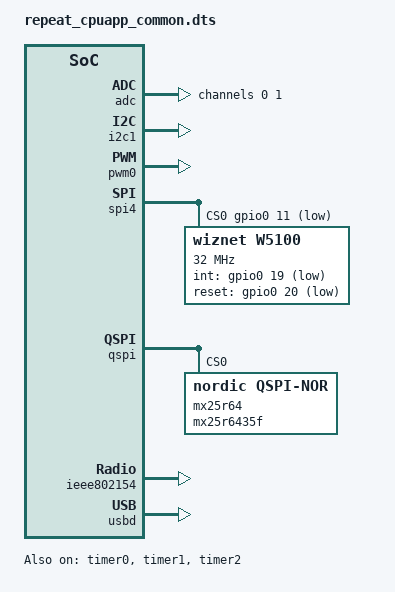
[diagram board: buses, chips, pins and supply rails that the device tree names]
/*
 * Copyright (c) 2019-2020 Nordic Semiconductor ASA
 *
 * SPDX-License-Identifier: Apache-2.0
 */
#include "repeat_cpuapp_common-pinctrl.dtsi"

/ {

	chosen {
		/*zephyr,console = &cdc_acm_uart;
		zephyr,shell-uart = &cdc_acm_uart;
		zephyr,uart-mcumgr = &cdc_acm_uart;
		zephyr,bt-mon-uart = &cdc_acm_uart;
		zephyr,bt-c2h-uart = &cdc_acm_uart;*/
		zephyr,bt-hci-rpmsg-ipc = &ipc0;
		nordic,802154-spinel-ipc = &ipc0;
		zephyr,ieee802154 = &ieee802154;
	};

	/* These aliases are provided for compatibility with samples */
	aliases {
		watchdog0 = &wdt0;
		spi-flash0 = &mx25r64;
	};
};


&adc {
	compatible = "nordic,nrf-saadc";
	status = "okay";
	#address-cells = <1>;
   	#size-cells = <0>;
	#io-channel-cells = <1>;

	voltage_usb: channel@0 {
		reg = <0>;
		zephyr,gain = "ADC_GAIN_1_6";
		zephyr,reference = "ADC_REF_INTERNAL";
		zephyr,acquisition-time = <ADC_ACQ_TIME_DEFAULT>;
		zephyr,input-positive = <NRF_SAADC_AIN0>;
		zephyr,resolution = <12>;
	};
	
	voltage_poe: channel@1 {
		reg = <1>;
		zephyr,gain = "ADC_GAIN_1_6";
		zephyr,reference = "ADC_REF_INTERNAL";
		zephyr,acquisition-time = <ADC_ACQ_TIME_DEFAULT>;
		zephyr,input-positive = <NRF_SAADC_AIN1>;
		zephyr,resolution = <12>;
	};
};

&gpiote {
	status = "okay";
};

&gpio0 {
	status = "okay";
};

&gpio1 {
	status = "okay";
};


&i2c1 {
	compatible = "nordic,nrf-twim";
	status = "okay";
};


&pwm0 {
	status = "okay";
};

&timer0 {
	status = "okay";
};

&timer1 {
	status = "okay";
};

&timer2 {
	status = "okay";
};

&spi4 {
    compatible = "nordic,nrf-spim";
    status = "okay";
	pinctrl-0 = <&spi4_default>;
	pinctrl-1 = <&spi4_sleep>;
	pinctrl-names = "default", "sleep";
	
    cs-gpios = <&gpio0 11 GPIO_ACTIVE_LOW>;
    w5100: w5100@0 {
        compatible = "wiznet,w5100";
        reg = <0x0>;
        spi-max-frequency = <32000000>;
        int-gpios = <&gpio0 19 GPIO_ACTIVE_LOW>;
        reset-gpios = <&gpio0 20 GPIO_ACTIVE_LOW>;
    };

};




&qspi {
	status = "okay";
	pinctrl-0 = <&qspi_default>;
	pinctrl-1 = <&qspi_sleep>;
	pinctrl-names = "default", "sleep";
	mx25r64: mx25r6435f@0 {
		compatible = "nordic,qspi-nor";
		reg = <0>;
		/* MX25R64 supports only pp and pp4io */
		writeoc = "pp4io";
		/* MX25R64 supports all readoc options */
		readoc = "read4io";
		sck-frequency = <8000000>;
		jedec-id = [c2 28 17];
		sfdp-bfp = [
			e5 20 f1 ff  ff ff ff 03  44 eb 08 6b  08 3b 04 bb
			ee ff ff ff  ff ff 00 ff  ff ff 00 ff  0c 20 0f 52
			10 d8 00 ff  23 72 f5 00  82 ed 04 cc  44 83 68 44
			30 b0 30 b0  f7 c4 d5 5c  00 be 29 ff  f0 d0 ff ff
		];
		size = <67108864>;
		has-dpd;
		t-enter-dpd = <10000>;
		t-exit-dpd = <35000>;
	};
};
&flash0 {

	partitions {
		compatible = "fixed-partitions";
		#address-cells = <1>;
		#size-cells = <1>;

		boot_partition: partition@0 {
			label = "mcuboot";
			reg = <0x00000000 0x00010000>;
		};
		slot0_partition: partition@10000 {
			label = "image-0";
		};
		slot0_ns_partition: partition@50000 {
			label = "image-0-nonsecure";
		};
		slot1_partition: partition@80000 {
			label = "image-1";
		};
		slot1_ns_partition: partition@c0000 {
			label = "image-1-nonsecure";
		};
		scratch_partition: partition@f0000 {
			label = "image-scratch";
			reg = <0x000f0000 0xa000>;
		};
		storage_partition: partition@fa000 {
			label = "storage";
			reg = <0x000fa000 0x00006000>;
		};
	};
};

&ieee802154 {
	status = "okay";
};


zephyr_udc0: &usbd {
	compatible = "nordic,nrf-usbd";
	status = "okay";

	cdc_acm_uart: cdc_acm_uart {
		compatible = "zephyr,cdc-acm-uart";
	};
};


/ {

	reserved-memory {
		#address-cells = <1>;
		#size-cells = <1>;
		ranges;

		sram0_image: image@20000000 {
			/* Zephyr image(s) memory */
		};

		sram0_s: image_s@20000000 {
			/* Secure image memory */
		};

		sram0_ns: image_ns@20040000 {
			/* Non-Secure image memory */
		};
	};
};

/* Include partition configuration file */
#include "repeat_cpuapp_partition_conf.dts"
